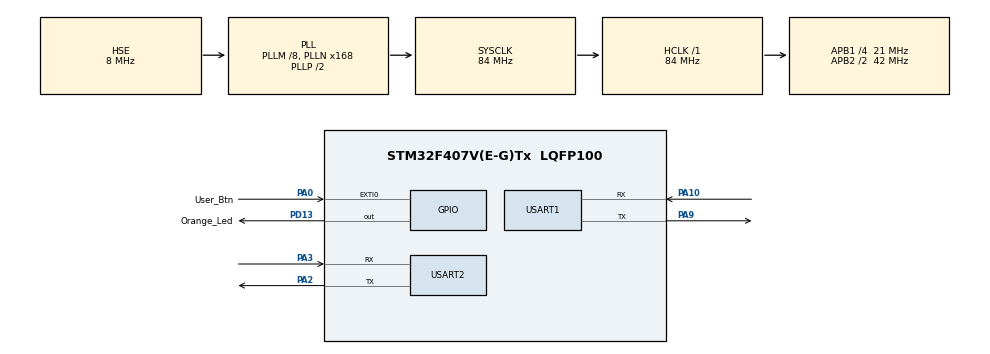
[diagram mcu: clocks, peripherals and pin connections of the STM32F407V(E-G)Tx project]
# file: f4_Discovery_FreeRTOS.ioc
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FREERTOS.Tasks01=logging_Task,0,128,logging_Task_Init,Default,NULL,Dynamic,NULL,NULL;Led_Task,0,128,Led_Task_Init,Default,NULL,Dynamic,NULL,NULL;Btn_Task,0,128,Btn_Task_Init,Default,NULL,Dynamic,NULL,NULL
FREERTOS.configUSE_NEWLIB_REENTRANT=1
Mcu.Family=STM32F4
Mcu.Name=STM32F407V(E-G)Tx
Mcu.Package=LQFP100
NVIC.EXTI0_IRQn=true\:5\:0\:false\:false\:true\:true\:true\:true\:true
NVIC.PriorityGroup=NVIC_PRIORITYGROUP_4
NVIC.TIM6_DAC_IRQn=true\:15\:0\:false\:false\:true\:false\:false\:true\:true
NVIC.TimeBase=TIM6_DAC_IRQn
NVIC.TimeBaseIP=TIM6
PA0-WKUP.GPIO_Label=User_Btn
PA0-WKUP.Signal=GPXTI0
PA10.Mode=Asynchronous
PA10.Signal=USART1_RX
PA13.Mode=Serial_Wire
PA13.Signal=SYS_JTMS-SWDIO
PA14.Mode=Serial_Wire
PA14.Signal=SYS_JTCK-SWCLK
PA2.Mode=Asynchronous
PA2.Signal=USART2_TX
PA3.Mode=Asynchronous
PA3.Signal=USART2_RX
PA9.Mode=Asynchronous
PA9.Signal=USART1_TX
PD13.GPIO_Label=Orange_Led
PD13.Signal=GPIO_Output
PH0-OSC_IN.Mode=HSE-External-Oscillator
PH0-OSC_IN.Signal=RCC_OSC_IN
PH1-OSC_OUT.Mode=HSE-External-Oscillator
PH1-OSC_OUT.Signal=RCC_OSC_OUT
ProjectManager.HeapSize=0x200
ProjectManager.StackSize=0x400
ProjectManager.TargetToolchain=STM32CubeIDE
RCC.48MHZClocksFreq_Value=24000000
RCC.AHBFreq_Value=84000000
RCC.APB1CLKDivider=RCC_HCLK_DIV4
RCC.APB1Freq_Value=21000000
RCC.APB1TimFreq_Value=42000000
RCC.APB2CLKDivider=RCC_HCLK_DIV2
RCC.APB2Freq_Value=42000000
RCC.APB2TimFreq_Value=84000000
RCC.CortexFreq_Value=84000000
RCC.HCLKFreq_Value=84000000
RCC.HSE_VALUE=8000000
RCC.HSI_VALUE=16000000
RCC.LSE_VALUE=32768
RCC.PLLM=8
RCC.PLLN=168
RCC.PLLQ=7
RCC.PLLSourceVirtual=RCC_PLLSOURCE_HSE
RCC.SYSCLKFreq_VALUE=84000000
RCC.SYSCLKSource=RCC_SYSCLKSOURCE_PLLCLK
RCC.VCOOutputFreq_Value=168000000
USART1.VirtualMode=VM_ASYNC
USART2.VirtualMode=VM_ASYNC
VP_FREERTOS_VS_CMSIS_V1.Mode=CMSIS_V1
VP_SYS_VS_tim6.Mode=TIM6
board=STM32F407G-DISC1

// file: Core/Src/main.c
/* USER CODE BEGIN Header */
/**
  ******************************************************************************
  * @file           : main.c
  * @brief          : Main program body
  ******************************************************************************
  * @attention
  *
  * Copyright (c) 2026 STMicroelectronics.
  * All rights reserved.
  *
  * This software is licensed under terms that can be found in the LICENSE file
  * in the root directory of this software component.
  * If no LICENSE file comes with this software, it is provided AS-IS.
  *
  ******************************************************************************
  */
/* USER CODE END Header */
#include "main.h"
#include "cmsis_os.h"

/* USER CODE BEGIN Includes */
#include <string.h>
#include <stdio.h>
#include "monitor.h"
/* USER CODE END Includes */

UART_HandleTypeDef huart1;
UART_HandleTypeDef huart2;

osThreadId logging_TaskHandle;
osThreadId Led_TaskHandle;
osThreadId Btn_TaskHandle;
osThreadId mon_TaskHandle;
/* USER CODE BEGIN PV */
// Notification value for button task
#define BTN_PRESS_NOTIFY  0x01
uint32_t led_blink_interval = 100;
volatile uint8_t interrupt_triggered =0;
volatile uint32_t last_button_tick = 0;
volatile uint32_t idle_counter = 0;
volatile uint32_t idle_counter_max = 0;

osMutexId ledIntervalMutex;
/* USER CODE END PV */

void SystemClock_Config(void);
static void MX_GPIO_Init(void);
static void MX_USART1_UART_Init(void);
static void MX_USART2_UART_Init(void);
void logging_Task_Init(void const * argument);
void Led_Task_Init(void const * argument);
void Btn_Task_Init(void const * argument);

/* USER CODE BEGIN 0 */
void vApplicationIdleHook(void)
{
    // Scale down increment to avoid huge numbers
    static uint32_t divider = 0;
    if (++divider >= 100)  // increment once every 100 idle loops
    {
        idle_counter++;
        divider = 0;
    }
}

#ifdef __GNUC__
int _write(int file, char *ptr, int len)
{
    (void)file;
    HAL_UART_Transmit(&huart2, (uint8_t *)ptr, len, HAL_MAX_DELAY);
    return len;
}
#endif

/* USER CODE END 0 */

int main(void)
{

  /* MCU Configuration--------------------------------------------------------*/

  /* Reset of all peripherals, Initializes the Flash interface and the Systick. */
  HAL_Init();

  /* Configure the system clock */
  SystemClock_Config();

  /* Initialize all configured peripherals */
  MX_GPIO_Init();
  MX_USART1_UART_Init();
  MX_USART2_UART_Init();
  /* USER CODE BEGIN 2 */
  printf("Testing printf mapping \n");
  /* USER CODE END 2 */

  /* Create the thread(s) */
  /* definition and creation of logging_Task */
  osThreadDef(logging_Task, logging_Task_Init, osPriorityNormal, 0, 128);
  logging_TaskHandle = osThreadCreate(osThread(logging_Task), NULL);

  /* definition and creation of Led_Task */
  osThreadDef(Led_Task, Led_Task_Init, osPriorityNormal, 0, 128);
  Led_TaskHandle = osThreadCreate(osThread(Led_Task), NULL);

  /* definition and creation of Btn_Task */
  osThreadDef(Btn_Task, Btn_Task_Init, osPriorityNormal, 0, 128);
  Btn_TaskHandle = osThreadCreate(osThread(Btn_Task), NULL);

  osThreadDef(MonitorTask, vCPUMonitorTask, osPriorityNormal, 0, 1024);
  mon_TaskHandle = osThreadCreate(osThread(MonitorTask), NULL);

  /* USER CODE BEGIN RTOS_THREADS */
  osMutexDef(LED_INTERVAL_MUTEX);
  ledIntervalMutex = osMutexCreate(osMutex(LED_INTERVAL_MUTEX));

   /* USER CODE END RTOS_THREADS */

  /* Start scheduler */
  osKernelStart();

  /* We should never get here as control is now taken by the scheduler */

  /* Infinite loop */
  while (1)
  {

 }
}

void SystemClock_Config(void)
{
  RCC_OscInitTypeDef RCC_OscInitStruct = {0};
  RCC_ClkInitTypeDef RCC_ClkInitStruct = {0};

  /** Configure the main internal regulator output voltage
  */
  __HAL_RCC_PWR_CLK_ENABLE();
  __HAL_PWR_VOLTAGESCALING_CONFIG(PWR_REGULATOR_VOLTAGE_SCALE1);

  /** Initializes the RCC Oscillators according to the specified parameters
  * in the RCC_OscInitTypeDef structure.
  */
  RCC_OscInitStruct.OscillatorType = RCC_OSCILLATORTYPE_HSE;
  RCC_OscInitStruct.HSEState = RCC_HSE_ON;
  RCC_OscInitStruct.PLL.PLLState = RCC_PLL_ON;
  RCC_OscInitStruct.PLL.PLLSource = RCC_PLLSOURCE_HSE;
  RCC_OscInitStruct.PLL.PLLM = 8;
  RCC_OscInitStruct.PLL.PLLN = 168;
  RCC_OscInitStruct.PLL.PLLP = RCC_PLLP_DIV2;
  RCC_OscInitStruct.PLL.PLLQ = 7;
  if (HAL_RCC_OscConfig(&RCC_OscInitStruct) != HAL_OK)
  {
    Error_Handler();
  }

  /** Initializes the CPU, AHB and APB buses clocks
  */
  RCC_ClkInitStruct.ClockType = RCC_CLOCKTYPE_HCLK|RCC_CLOCKTYPE_SYSCLK
                              |RCC_CLOCKTYPE_PCLK1|RCC_CLOCKTYPE_PCLK2;
  RCC_ClkInitStruct.SYSCLKSource = RCC_SYSCLKSOURCE_PLLCLK;
  RCC_ClkInitStruct.AHBCLKDivider = RCC_SYSCLK_DIV1;
  RCC_ClkInitStruct.APB1CLKDivider = RCC_HCLK_DIV4;
  RCC_ClkInitStruct.APB2CLKDivider = RCC_HCLK_DIV2;

  if (HAL_RCC_ClockConfig(&RCC_ClkInitStruct, FLASH_LATENCY_2) != HAL_OK)
  {
    Error_Handler();
  }
}

static void MX_USART1_UART_Init(void)
{

  huart1.Instance = USART1;
  huart1.Init.BaudRate = 115200;
  huart1.Init.WordLength = UART_WORDLENGTH_8B;
  huart1.Init.StopBits = UART_STOPBITS_1;
  huart1.Init.Parity = UART_PARITY_NONE;
  huart1.Init.Mode = UART_MODE_TX_RX;
  huart1.Init.HwFlowCtl = UART_HWCONTROL_NONE;
  huart1.Init.OverSampling = UART_OVERSAMPLING_16;
  if (HAL_UART_Init(&huart1) != HAL_OK)
  {
    Error_Handler();
  }

}

static void MX_USART2_UART_Init(void)
{

  huart2.Instance = USART2;
  huart2.Init.BaudRate = 115200;
  huart2.Init.WordLength = UART_WORDLENGTH_8B;
  huart2.Init.StopBits = UART_STOPBITS_1;
  huart2.Init.Parity = UART_PARITY_NONE;
  huart2.Init.Mode = UART_MODE_TX_RX;
  huart2.Init.HwFlowCtl = UART_HWCONTROL_NONE;
  huart2.Init.OverSampling = UART_OVERSAMPLING_16;
  if (HAL_UART_Init(&huart2) != HAL_OK)
  {
    Error_Handler();
  }

}

static void MX_GPIO_Init(void)
{
  GPIO_InitTypeDef GPIO_InitStruct = {0};

  /* GPIO Ports Clock Enable */
  __HAL_RCC_GPIOH_CLK_ENABLE();
  __HAL_RCC_GPIOA_CLK_ENABLE();
  __HAL_RCC_GPIOD_CLK_ENABLE();

  /*Configure GPIO pin Output Level */
  HAL_GPIO_WritePin(Orange_Led_GPIO_Port, Orange_Led_Pin, GPIO_PIN_RESET);

  /*Configure GPIO pin : User_Btn_Pin */
  GPIO_InitStruct.Pin = User_Btn_Pin;
  GPIO_InitStruct.Mode = GPIO_MODE_IT_RISING;
  GPIO_InitStruct.Pull = GPIO_NOPULL;
  HAL_GPIO_Init(User_Btn_GPIO_Port, &GPIO_InitStruct);

  /*Configure GPIO pin : Orange_Led_Pin */
  GPIO_InitStruct.Pin = Orange_Led_Pin;
  GPIO_InitStruct.Mode = GPIO_MODE_OUTPUT_PP;
  GPIO_InitStruct.Pull = GPIO_NOPULL;
  GPIO_InitStruct.Speed = GPIO_SPEED_FREQ_LOW;
  HAL_GPIO_Init(Orange_Led_GPIO_Port, &GPIO_InitStruct);

  /* EXTI interrupt init*/
  HAL_NVIC_SetPriority(EXTI0_IRQn, 5, 0);
  HAL_NVIC_EnableIRQ(EXTI0_IRQn);

}

/* USER CODE BEGIN 4 */

void dummy_load_increase( uint32_t interval)
{
    char buffer[50];
    int len = sprintf(buffer,
                      "LED blink interval: %lu ms\r\n",
                      interval);

    HAL_UART_Transmit(&huart2, (uint8_t *)buffer, len, HAL_MAX_DELAY);
    HAL_UART_Transmit(&huart2, (uint8_t *)buffer, len, HAL_MAX_DELAY);
    HAL_UART_Transmit(&huart2, (uint8_t *)buffer, len, HAL_MAX_DELAY);
    HAL_UART_Transmit(&huart2, (uint8_t *)buffer, len, HAL_MAX_DELAY);
    HAL_UART_Transmit(&huart2, (uint8_t *)buffer, len, HAL_MAX_DELAY);
     HAL_UART_Transmit(&huart2, (uint8_t *)buffer, len, HAL_MAX_DELAY);
     HAL_UART_Transmit(&huart2, (uint8_t *)buffer, len, HAL_MAX_DELAY);
     HAL_UART_Transmit(&huart2, (uint8_t *)buffer, len, HAL_MAX_DELAY);

}
void HAL_GPIO_EXTI_Callback(uint16_t GPIO_Pin)
{
    if (GPIO_Pin == GPIO_PIN_0)
    {

        if ((HAL_GetTick() - last_button_tick) >= 250)   // 250ms debounce window
        {
            interrupt_triggered = 1;
            last_button_tick = HAL_GetTick();
        }

    }
}
/* USER CODE END 4 */

void logging_Task_Init(void const * argument)
{
	uint32_t interval;

    for (;;)
    {
        /*small delay so system does not completely lock */
        osDelay(500);

        osMutexWait(ledIntervalMutex, osWaitForever);
        interval = led_blink_interval;
        osMutexRelease(ledIntervalMutex);

        dummy_load_increase(interval);//printing led blink interval multiple times

    }
}

void Led_Task_Init(void const * argument)
{
  uint32_t interval;

  for(;;)
  {
    osMutexWait(ledIntervalMutex, osWaitForever);
    interval = led_blink_interval;
    osMutexRelease(ledIntervalMutex);

    HAL_GPIO_TogglePin(Orange_Led_GPIO_Port, Orange_Led_Pin);
    osDelay(interval);
  }
}

void Btn_Task_Init(void const * argument)
{
  /* USER CODE BEGIN Btn_Task_Init */
  /* Infinite loop */
  for(;;)
  {
       if(interrupt_triggered==1)
       {
    	   interrupt_triggered=0;
    	   osMutexWait(ledIntervalMutex, osWaitForever);
    	   led_blink_interval += 100;
    	   osMutexRelease(ledIntervalMutex);
       }

       osDelay(1);
  }
  /* USER CODE END Btn_Task_Init */
}

void HAL_TIM_PeriodElapsedCallback(TIM_HandleTypeDef *htim)
{
  if (htim->Instance == TIM6)
  {
    HAL_IncTick();
  }
}

void Error_Handler(void)
{
  __disable_irq();
  while (1)
  {
  }
}
